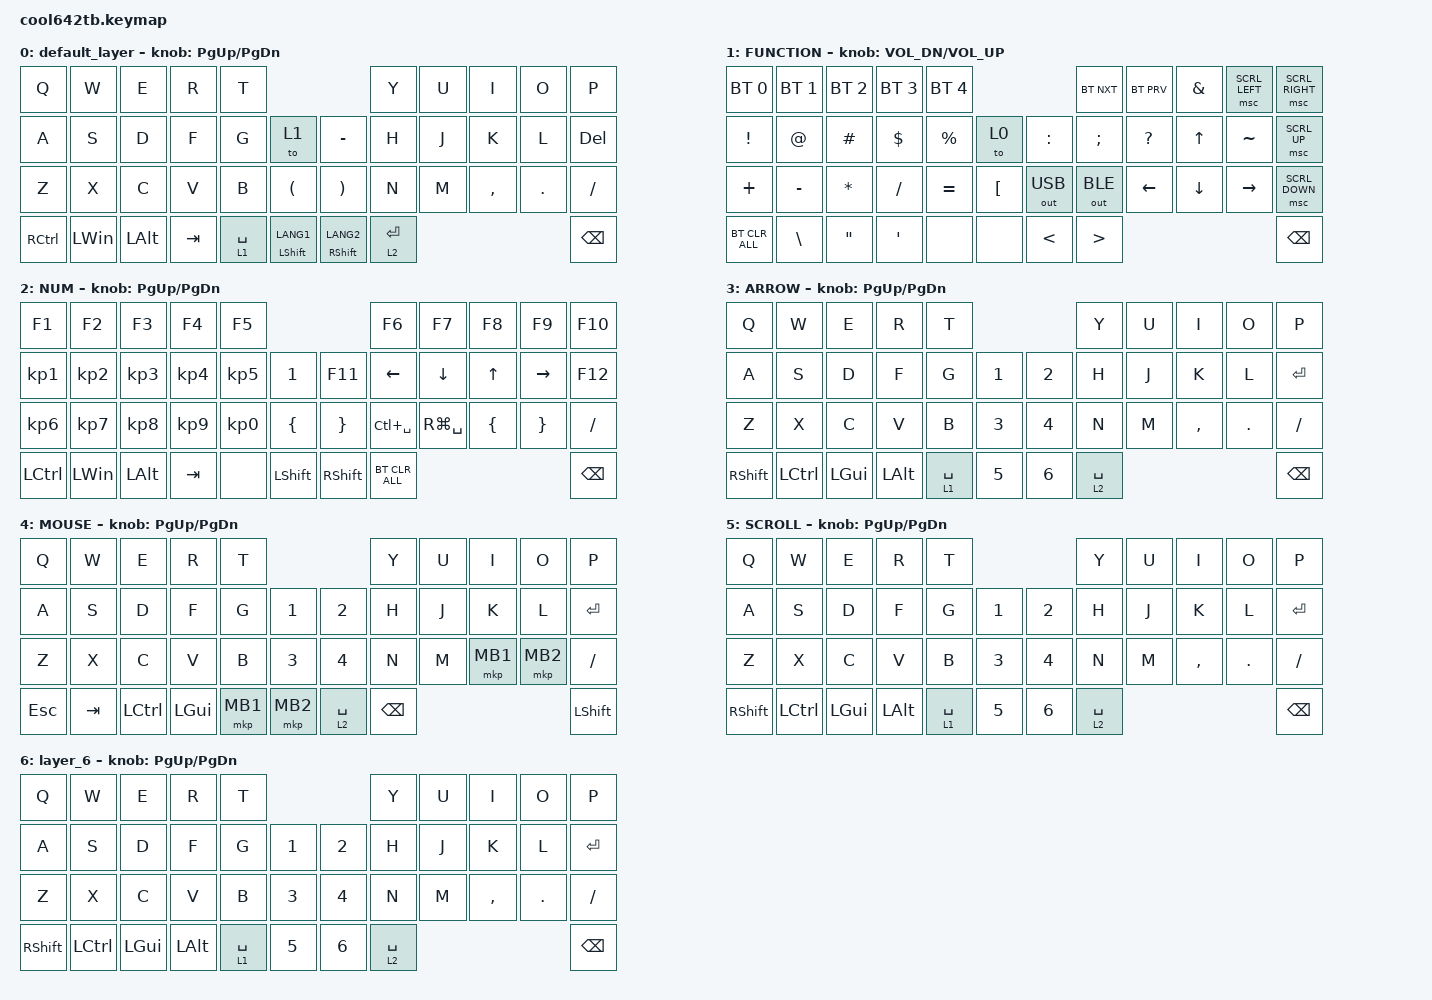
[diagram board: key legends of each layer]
#include <behaviors.dtsi>
#include <dt-bindings/zmk/bt.h>
#include <dt-bindings/zmk/keys.h>
#include <dt-bindings/zmk/outputs.h>
#include <dt-bindings/zmk/pointing.h>

#define MOUSE 4
#define SCROLL 5
#define NUM 6

&mt {
    flavor = "balanced";
    quick-tap-ms = <0>;
};

/ {
    combos {
        compatible = "zmk,combos";

        comb1 {
            bindings = <&kp TAB>;
            key-positions = <11 10>;
        };

        comb2 {
            bindings = <&kp LS(ESCAPE)>;
            key-positions = <0 1>;
        };

        comb3 {
            bindings = <&kp CAPSLOCK>;
            key-positions = <22 23>;
        };

        comb4 {
            bindings = <&kp BACKSPACE>;
            key-positions = <9 8>;
        };

        comb5 {
            bindings = <&bt BT_CLR_ALL>;
            key-positions = <9 8>;
            timeout-ms = <0>;
            layers = <2>;
        };
    };

    macros {
        to_layer_0: to_layer_0 {
            compatible = "zmk,behavior-macro-one-param";
            #binding-cells = <1>;
            bindings = <&to 0 &macro_param_1to1 &kp MACRO_PLACEHOLDER>;
            label = "TO_LAYER_0";
        };
    };

    behaviors {
        lt_to_layer_0: lt_to_layer_0 {
            compatible = "zmk,behavior-hold-tap";
            label = "LAYER_TAP_TO_0";
            bindings = <&mo>, <&to_layer_0>;

            #binding-cells = <2>;
            tapping-term-ms = <200>;
        };
    };

    keymap {
        compatible = "zmk,keymap";

        default_layer {
            bindings = <
&kp Q      &kp W         &kp E         &kp R    &kp T                                                     &kp Y        &kp U  &kp I      &kp O       &kp P
&kp A      &kp S         &kp D         &kp F    &kp G        &to 1                 &kp MINUS              &kp H        &kp J  &kp K      &kp L       &kp DEL
&kp Z      &kp X         &kp C         &kp V    &kp B        &kp LEFT_PARENTHESIS  &kp RIGHT_PARENTHESIS  &kp N        &kp M  &kp COMMA  &kp PERIOD  &kp SLASH
&kp RCTRL  &kp LEFT_WIN  &kp LEFT_ALT  &kp TAB  &lt 1 SPACE  &mt LEFT_SHIFT LANG1  &mt RIGHT_SHIFT LANG2  &lt 2 ENTER                                &kp BACKSPACE
            >;

            sensor-bindings = <&inc_dec_kp PG_UP PAGE_DOWN>;
        };

        FUNCTION {
            bindings = <
&bt BT_SEL 0     &bt BT_SEL 1   &bt BT_SEL 2  &bt BT_SEL 3      &bt BT_SEL 4                                   &bt BT_NXT        &bt BT_PRV      &kp AMPERSAND  &msc SCRL_LEFT   &msc SCRL_RIGHT
&kp EXCLAMATION  &kp AT_SIGN    &kp HASH      &kp DOLLAR        &kp PERCENT   &to 0             &kp COLON      &kp SEMICOLON     &kp QMARK       &kp UP         &kp TILDE        &msc SCRL_UP
&kp PLUS         &kp MINUS      &kp ASTERISK  &kp SLASH         &kp EQUAL     &kp LEFT_BRACKET  &out OUT_USB   &out OUT_BLE      &kp LEFT_ARROW  &kp DOWN       &kp RIGHT_ARROW  &msc SCRL_DOWN
&bt BT_CLR_ALL   &kp BACKSLASH  &kp DQT       &kp SINGLE_QUOTE  &none         &none             &kp LESS_THAN  &kp GREATER_THAN                                                  &kp BACKSPACE
            >;

            sensor-bindings = <&inc_dec_kp C_VOL_DN C_VOL_UP>;
        };

        NUM {
            bindings = <
&kp F1            &kp F2           &kp F3           &kp F4           &kp F5                                            &kp F6          &kp F7          &kp F8          &kp F9           &kp F10
&kp KP_NUMBER_1   &kp KP_NUMBER_2  &kp KP_NUMBER_3  &kp KP_NUMBER_4  &kp KP_NUMBER_5  &kp N1          &kp F11          &kp LEFT        &kp DOWN_ARROW  &kp UP_ARROW    &kp RIGHT        &kp F12
&kp KP_NUMBER_6   &kp KP_NUMBER_7  &kp KP_NUMBER_8  &kp KP_NUMBER_9  &kp KP_NUMBER_0  &kp LEFT_BRACE  &kp RIGHT_BRACE  &kp LC(SPACE)   &kp RG(SPACE)   &kp LEFT_BRACE  &kp RIGHT_BRACE  &kp SLASH
&kp LEFT_CONTROL  &kp LEFT_WIN     &kp LEFT_ALT     &kp TAB          &none            &kp LEFT_SHIFT  &kp RIGHT_SHIFT  &bt BT_CLR_ALL                                                   &kp BACKSPACE
            >;

            sensor-bindings = <&inc_dec_kp PG_UP PAGE_DOWN>;
        };

        ARROW {
            bindings = <
&kp Q       &kp W      &kp E     &kp R     &kp T                        &kp Y        &kp U  &kp I      &kp O       &kp P
&kp A       &kp S      &kp D     &kp F     &kp G        &kp N1  &kp N2  &kp H        &kp J  &kp K      &kp L       &kp ENTER
&kp Z       &kp X      &kp C     &kp V     &kp B        &kp N3  &kp N4  &kp N        &kp M  &kp COMMA  &kp PERIOD  &kp SLASH
&kp RSHIFT  &kp LCTRL  &kp LGUI  &kp LALT  &lt 1 SPACE  &kp N5  &kp N6  &lt 2 SPACE                                &kp BSPC
            >;

            sensor-bindings = <&inc_dec_kp PG_UP PAGE_DOWN>;
        };

        MOUSE {
            bindings = <
&kp Q       &kp W    &kp E             &kp R         &kp T                            &kp Y          &kp U  &kp I     &kp O     &kp P
&kp A       &kp S    &kp D             &kp F         &kp G     &kp N1    &kp N2       &kp H          &kp J  &kp K     &kp L     &kp ENTER
&kp Z       &kp X    &kp C             &kp V         &kp B     &kp N3    &kp N4       &kp N          &kp M  &mkp MB1  &mkp MB2  &kp SLASH
&kp ESCAPE  &kp TAB  &kp LEFT_CONTROL  &kp LEFT_GUI  &mkp MB1  &mkp MB2  &lt 2 SPACE  &kp BACKSPACE                             &kp LEFT_SHIFT
            >;

            sensor-bindings = <&inc_dec_kp PG_UP PAGE_DOWN>;
        };

        SCROLL {
            bindings = <
&kp Q       &kp W      &kp E     &kp R     &kp T                        &kp Y        &kp U  &kp I      &kp O       &kp P
&kp A       &kp S      &kp D     &kp F     &kp G        &kp N1  &kp N2  &kp H        &kp J  &kp K      &kp L       &kp ENTER
&kp Z       &kp X      &kp C     &kp V     &kp B        &kp N3  &kp N4  &kp N        &kp M  &kp COMMA  &kp PERIOD  &kp SLASH
&kp RSHIFT  &kp LCTRL  &kp LGUI  &kp LALT  &lt 1 SPACE  &kp N5  &kp N6  &lt 2 SPACE                                &kp BSPC
            >;

            sensor-bindings = <&inc_dec_kp PG_UP PAGE_DOWN>;
        };

        layer_6 {
            bindings = <
&kp Q       &kp W      &kp E     &kp R     &kp T                        &kp Y        &kp U  &kp I      &kp O       &kp P
&kp A       &kp S      &kp D     &kp F     &kp G        &kp N1  &kp N2  &kp H        &kp J  &kp K      &kp L       &kp ENTER
&kp Z       &kp X      &kp C     &kp V     &kp B        &kp N3  &kp N4  &kp N        &kp M  &kp COMMA  &kp PERIOD  &kp SLASH
&kp RSHIFT  &kp LCTRL  &kp LGUI  &kp LALT  &lt 1 SPACE  &kp N5  &kp N6  &lt 2 SPACE                                &kp BSPC
            >;

            sensor-bindings = <&inc_dec_kp PG_UP PAGE_DOWN>;
        };
    };
};
